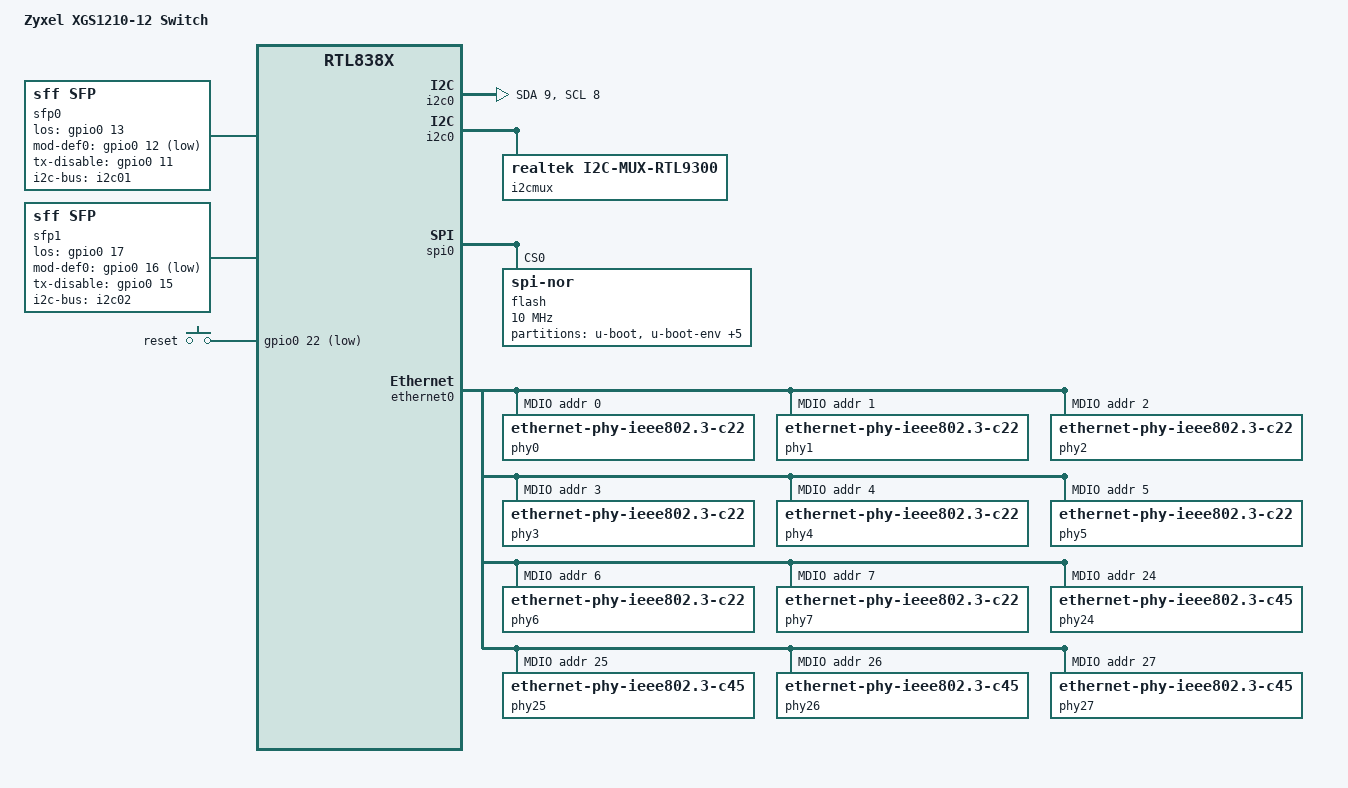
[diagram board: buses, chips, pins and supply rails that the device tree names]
// SPDX-License-Identifier: GPL-2.0-or-later
/dts-v1/;

#include "rtl930x.dtsi"

#include <dt-bindings/input/input.h>
#include <dt-bindings/gpio/gpio.h>

/ {
	compatible = "zyxel,xgs1210-12", "realtek,rtl838x-soc";
	model = "Zyxel XGS1210-12 Switch";

	// mw.l 0xb8003308 0x00200000 active low toggles PHY reset
	// GPIO 21: phy power, needs to be 1
	chosen {
		bootargs = "console=ttyS0,115200";
	};

	i2c0: i2c-rtl9300 {
		compatible = "realtek,rtl9300-i2c";
		reg = <0x1b00036c 0x3c>;
		#address-cells = <1>;
		#size-cells = <0>;
		sda-pin = <9>;
		scl-pin = <8>;
	};

	i2cmux {
		compatible = "realtek,i2c-mux-rtl9300";
		#address-cells = <1>;
		#size-cells = <0>;
		i2c-parent = <&i2c0>;

		/* i2c of the left SFP cage: port 11 */
		i2c01: i2c-rtl9300-1 {
			reg = <1>;
			#address-cells = <1>;
			#size-cells = <0>;
			sda-pin = <9>;
			scl-pin = <8>;
		};

		/* i2c of the right SFP cage: port 12 */
		i2c02: i2c-rtl9300-2 {
			reg = <2>;
			#address-cells = <1>;
			#size-cells = <0>;
			sda-pin = <10>;
			scl-pin = <8>;
		};
	};

	sfp0: sfp-p11 {
		compatible = "sff,sfp";
		i2c-bus = <&i2c01>;
		los-gpio = <&gpio0 13 GPIO_ACTIVE_HIGH>;
//		tx-fault-gpio = <&gpio0 22 GPIO_ACTIVE_HIGH>;
		mod-def0-gpio = <&gpio0 12 GPIO_ACTIVE_LOW>;
		tx-disable-gpio = <&gpio0 11 GPIO_ACTIVE_HIGH>;
	};

	sfp1: sfp-p12 {
		compatible = "sff,sfp";
		i2c-bus = <&i2c02>;
		los-gpio = <&gpio0 17 GPIO_ACTIVE_HIGH>;
//		tx-fault-gpio = <&gpio0 28 GPIO_ACTIVE_HIGH>;
		mod-def0-gpio = <&gpio0 16 GPIO_ACTIVE_LOW>;
		tx-disable-gpio = <&gpio0 15 GPIO_ACTIVE_HIGH>;
	};

	// Reset-button: GPIO 22
	keys {
		compatible = "gpio-keys-polled";
		poll-interval = <20>;

		mode {
			label = "reset";
			gpios = <&gpio0 22 GPIO_ACTIVE_LOW>;
			linux,code = <KEY_RESTART>;
		};
	};
};

&spi0 {
	status = "okay";
	flash@0 {
		compatible = "jedec,spi-nor";
		reg = <0>;
		spi-max-frequency = <10000000>;

		partitions {
			compatible = "fixed-partitions";
			#address-cells = <1>;
			#size-cells = <1>;

			partition@0 {
				label = "u-boot";
				reg = <0x0 0xe0000>;
				read-only;
			};
			partition@40000 {
				label = "u-boot-env";
				reg = <0xe0000 0x10000>;
				read-only;
			};
			partition@50000 {
				label = "u-boot-env2";
				reg = <0xf0000 0x10000>;
				read-only;
			};
			partition@60000 {
				label = "jffs";
				reg = <0x100000 0x100000>;
			};
			partition@160000 {
				label = "jffs2";
				reg = <0x200000 0x100000>;
			};
			partition@300000 {
				label = "firmware1";
				reg = <0x300000 0x680000>;
			};
			partition@980000 {
				label = "firmware2";
				reg = <0x980000 0x680000>;
			};
		};
	};
};

&ethernet0 {
	mdio: mdio-bus {
		compatible = "realtek,rtl838x-mdio";
		regmap = <&ethernet0>;
		#address-cells = <1>;
		#size-cells = <0>;

		/* Internal phy */
		phy0: ethernet-phy@0 {
			reg = <0>;
			compatible = "ethernet-phy-ieee802.3-c22";
		};
		phy1: ethernet-phy@1 {
			reg = <1>;
			compatible = "ethernet-phy-ieee802.3-c22";
		};
		phy2: ethernet-phy@2 {
			reg = <2>;
			compatible = "ethernet-phy-ieee802.3-c22";
		};
		phy3: ethernet-phy@3 {
			reg = <3>;
			compatible = "ethernet-phy-ieee802.3-c22";
		};
		phy4: ethernet-phy@4 {
			reg = <4>;
			compatible = "ethernet-phy-ieee802.3-c22";
		};
		phy5: ethernet-phy@5 {
			reg = <5>;
			compatible = "ethernet-phy-ieee802.3-c22";
		};
		phy6: ethernet-phy@6 {
			reg = <6>;
			compatible = "ethernet-phy-ieee802.3-c22";
		};
		phy7: ethernet-phy@7 {
			reg = <7>;
			compatible = "ethernet-phy-ieee802.3-c22";
		};

		phy24: ethernet-phy@24 {
			reg = <24>;
			compatible = "ethernet-phy-ieee802.3-c45";
			rtl9300,smi-address = <1 8>;
		};

		phy25: ethernet-phy@25 {
			reg = <25>;
			compatible = "ethernet-phy-ieee802.3-c45";
			rtl9300,smi-address = <2 9>;
		};

		/* SFP Ports */
		phy26: ethernet-phy@26 {
			compatible = "ethernet-phy-ieee802.3-c45";
			phy-is-integrated;
			reg = <26>;
			rtl9300,smi-address = <3 8>; // guessing
			sds = < 8 >;
		};
		phy27: ethernet-phy@27 {
			compatible = "ethernet-phy-ieee802.3-c45";
			phy-is-integrated;
			reg = <27>;
			rtl9300,smi-address = <4 0>;
			sds = < 9 >;
		};
	};
};

&switch0 {
	ports {
		#address-cells = <1>;
		#size-cells = <0>;

		port@0 {
			reg = <0>;
			label = "lan1";
			phy-handle = <&phy0>;
			phy-mode = "internal";
		};
		port@1 {
			reg = <1>;
			label = "lan2";
			phy-handle = <&phy1>;
			phy-mode = "internal";
		};
		port@2 {
			reg = <2>;
			label = "lan3";
			phy-handle = <&phy2>;
			phy-mode = "internal";
		};
		port@3 {
			reg = <3>;
			label = "lan4";
			phy-handle = <&phy3>;
			phy-mode = "internal";
		};
		port@4 {
			reg = <4>;
			label = "lan5";
			phy-handle = <&phy4>;
			phy-mode = "internal";
		};
		port@5 {
			reg = <5>;
			label = "lan6";
			phy-handle = <&phy5>;
			phy-mode = "internal";
		};
		port@6 {
			reg = <6>;
			label = "lan7";
			phy-handle = <&phy6>;
			phy-mode = "internal";
		};
		port@7 {
			reg = <7>;
			label = "lan8";
			phy-handle = <&phy7>;
			phy-mode = "internal";
		};

		port@24 {
			reg = <24>;
			label = "lan9";
			phy-mode = "hsgmii";
			phy-handle = <&phy24>;
		};
		port@25 {
			reg = <25>;
			label = "lan10";
			phy-mode = "hsgmii";
			phy-handle = <&phy25>;
		};


		/* SFP cages */
		port@26 {
			reg = <26>;
			label = "lan11";
			phy-mode = "10gbase-kr";  // 1000base-x 10gbase-kr
			phy-handle = <&phy26>;
//			managed = "in-band-status";
			sfp = <&sfp0>;

			fixed-link {
				speed = <10000>;
				full-duplex;
				pause;
			};

		};
		port@27 {
			reg = <27>;
			label = "lan12";
			phy-mode = "10gbase-kr";
			phy-handle = <&phy27>;
			sfp = <&sfp1>;

			fixed-link {
				speed = <10000>;
				full-duplex;
				pause;
			};

		};

		port@28 {
			ethernet = <&ethernet0>;
			reg = <28>;
			phy-mode = "internal";
			fixed-link {
				speed = <1000>;
				full-duplex;
			};
		};
	};
};
